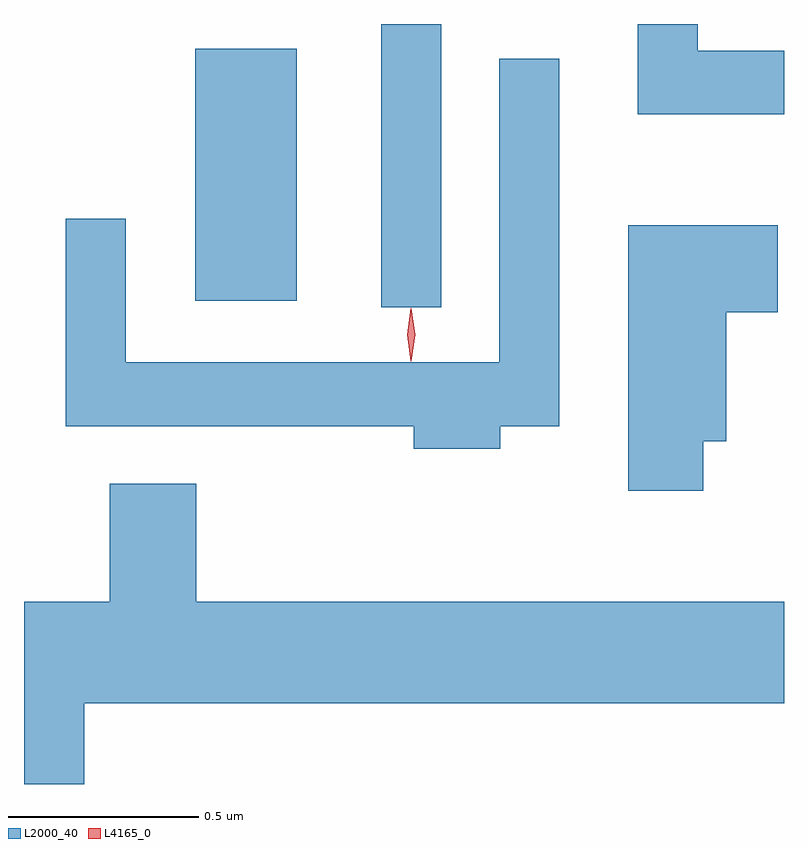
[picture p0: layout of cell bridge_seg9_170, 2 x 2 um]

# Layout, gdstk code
import gdstk
lib = gdstk.Library(unit=1e-6, precision=1e-09)
def R(c, l, rs):  # rectangles x0, y0, x1, y1
    for r in rs: c.add(gdstk.rectangle(r[:2], r[2:], *l))
def P(c, l, *ps):  # polygons
    for p in ps: c.add(gdstk.Polygon(p, *l))
L2000_40 = (2000, 40)
L4165_0 = (4165, 0)

bridge_seg9_170 = lib.new_cell('bridge_seg9_170')
R(bridge_seg9_170, L2000_40, [(1394.946,2072.778,1395.104,2073.524), (1394.456,2072.796,1394.724,2073.459)])
P(bridge_seg9_170, L2000_40, [(1396.006,2073.454),(1395.779,2073.454),(1395.779,2073.524),(1395.621,2073.524),(1395.621,2073.286),(1396.006,2073.286)],
  [(1395.259,2072.466),(1395.414,2072.466),(1395.414,2073.433),(1395.256,2073.433),(1395.256,2072.634),(1394.274,2072.634),(1394.274,2073.012),(1394.116,2073.012),(1394.116,2072.466),(1395.031,2072.466),(1395.031,2072.406),(1395.259,2072.406)],
  [(1395.794,2072.426),(1395.854,2072.426),(1395.854,2072.766),(1395.989,2072.766),(1395.989,2072.994),(1395.596,2072.994),(1395.596,2072.296),(1395.794,2072.296)],
  [(1394.006,2071.524),(1394.164,2071.524),(1394.164,2071.736),(1396.006,2071.736),(1396.006,2072.004),(1394.459,2072.004),(1394.459,2072.314),(1394.231,2072.314),(1394.231,2072.004),(1394.006,2072.004)])
P(bridge_seg9_170, L4165_0, [(1395.024,2072.637),(1395.015,2072.706),(1395.024,2072.776),(1395.025,2072.776),(1395.025,2072.776),(1395.035,2072.706),(1395.025,2072.637),(1395.025,2072.637)],
  [(1395.024,2072.639),(1395.024,2072.64),(1395.014,2072.706),(1395.024,2072.772),(1395.024,2072.773),(1395.025,2072.772),(1395.034,2072.706),(1395.025,2072.64)])

lib.write_gds('bridge_seg9_170.gds')
